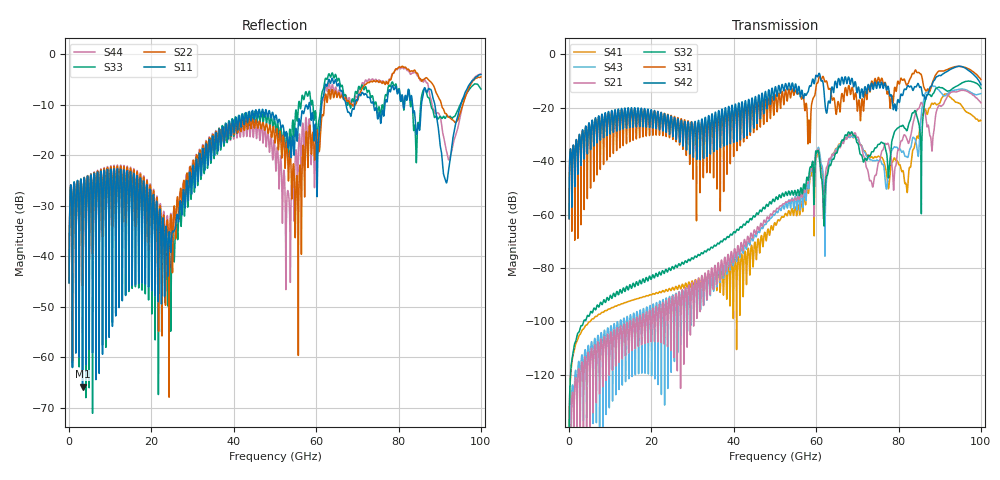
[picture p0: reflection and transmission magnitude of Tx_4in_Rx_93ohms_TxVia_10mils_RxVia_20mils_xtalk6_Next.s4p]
! Info: Touchstone file created by Circ.  Input file=Tx_4in_Rx_93ohms_TxVia_10mils_RxVia_20mils.circ
# Hz S RI R 50
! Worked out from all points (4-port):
!   10000 points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, 10 MHz to 100 GHz, reference 50 ohm
!   strongest paths, dB at 10 MHz, 25.01 GHz, 50.01 GHz, 75.01 GHz, 100 GHz:
!     S42: -61.6, -25.6, -12.5, -10.4, -11.4
!     S31: -61.6, -26.0, -15.9, -8.9, -9.5
!     S32: -144.7, -79.6, -54.7, -33.8, -12.8
!     S21: -160.3, -91.1, -59.0, -41.0, -18.2
!     S43: -146.6, -92.4, -59.9, -39.8, -14.7
!     S41: -144.7, -87.5, -63.1, -38.2, -24.9
!   lowest |S11| = -65.8 dB at 3.27 GHz (marker M1), VSWR 1.00, Z = 50 + j0.0187 ohm
!   |S11| at or under -10 dB: start of sweep to 58.22 GHz; 58.49 GHz to 61.3 GHz (2.811 GHz wide, 4.69 % of centre); 88.81 GHz to 95.15 GHz (6.334 GHz wide, 6.89 % of centre) (the widest 3 of 7)
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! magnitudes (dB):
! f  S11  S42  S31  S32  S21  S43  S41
! 10 MHz  -45.1  -61.6  -61.6  -144.7  -160.3  -146.6  -144.7
! 3.27 GHz  -65.8  -28.3  -28.5  -101.4  -117.1  -114.2  -103.1
! 24.33 GHz  -35.1  -29.0  -30.3  -80.0  -91.4  -90.9  -87.7
! 37.95 GHz  -15.0  -20.0  -21.7  -69.4  -76.9  -78.3  -79.3
! 60.36 GHz  -21.2  -8.4  -10.8  -36.1  -36.0  -35.5  -36.6
! 77.08 GHz  -9.4  -13.4  -13.3  -36.9  -33.8  -50.5  -44.5
! 100 GHz  -4.1  -11.4  -9.5  -12.8  -18.2  -14.7  -24.9
